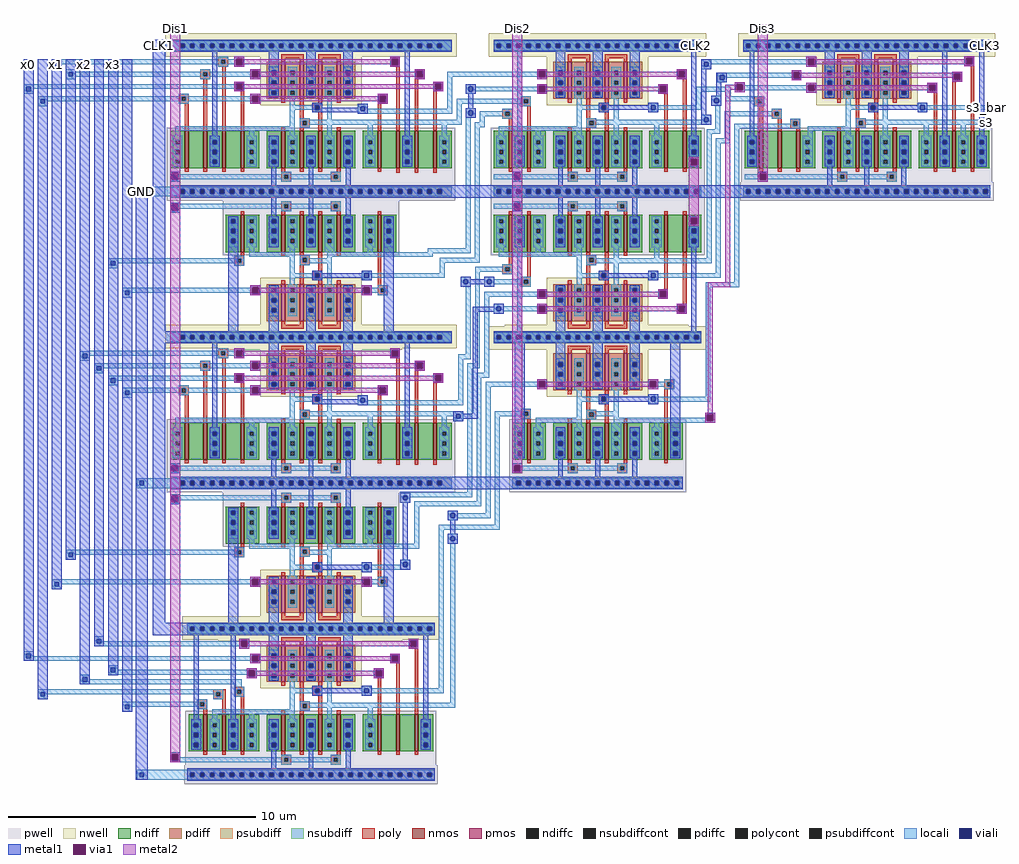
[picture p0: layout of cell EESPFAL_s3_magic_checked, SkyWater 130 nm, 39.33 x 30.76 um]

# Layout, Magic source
magic
tech sky130A
magscale 1 2
<< locali >>
rect -943 1054 -65 1094
rect 4315 1054 4585 1094
rect -829 954 -65 994
rect 2180 954 2555 994
rect -1171 854 -65 894
rect -1057 754 -65 794
rect 2180 654 2220 954
rect 4429 944 4585 984
rect 2408 834 2555 874
rect 4195 833 4471 873
rect 2254 734 2555 774
rect 2254 604 2294 734
rect 4195 724 4235 833
rect 4431 794 4471 833
rect 4431 754 4585 794
rect 2442 634 2555 674
rect 2215 564 2294 604
rect -255 -16 -65 64
rect 15 -116 385 -76
rect 2328 -437 2368 620
rect 2442 586 2482 634
rect 2021 -466 2368 -437
rect 1765 -477 2368 -466
rect 2402 546 2482 586
rect 1765 -506 2061 -477
rect 2402 -511 2442 546
rect 4349 530 4389 719
rect 6530 690 6554 716
rect -487 -556 385 -516
rect 2117 -551 2442 -511
rect 4279 490 4389 530
rect 4423 634 4585 674
rect 4279 -516 4319 490
rect 4423 456 4463 634
rect 2117 -636 2157 -551
rect 4235 -556 4319 -516
rect 4353 416 4463 456
rect 4501 534 4585 574
rect 6530 570 6556 597
rect 1765 -676 2157 -636
rect 2403 -626 2555 -586
rect -373 -796 499 -756
rect -715 -1306 -65 -1266
rect 2329 -1294 2369 -746
rect 2267 -1334 2369 -1294
rect -601 -1406 -65 -1366
rect -487 -1506 -65 -1466
rect -373 -1606 -65 -1566
rect 2267 -1666 2307 -1334
rect 2403 -1368 2443 -626
rect 4353 -636 4393 416
rect 4235 -676 4393 -636
rect 4501 -710 4541 534
rect 4269 -750 4541 -710
rect 2215 -1706 2307 -1666
rect 2341 -1408 2443 -1368
rect 2477 -826 2555 -786
rect 2215 -1796 2227 -1756
rect -255 -2376 -65 -2296
rect 2341 -2410 2381 -1408
rect 2477 -1442 2517 -826
rect 15 -2476 385 -2436
rect 1797 -2450 2381 -2410
rect 2415 -1482 2517 -1442
rect 2415 -2484 2455 -1482
rect 1911 -2524 2455 -2484
rect 2489 -1556 2705 -1516
rect 1911 -2826 1951 -2524
rect 2489 -2580 2529 -1556
rect 4269 -1636 4309 -750
rect 4085 -1676 4309 -1636
rect 2263 -2620 2529 -2580
rect 2563 -1796 2705 -1756
rect 2563 -2673 2603 -1796
rect 4085 -1846 4266 -1806
rect 1765 -2866 1951 -2826
rect 2109 -2713 2603 -2673
rect -830 -2916 385 -2876
rect 1765 -3036 1877 -2996
rect -943 -3156 385 -3116
rect -601 -3656 85 -3616
rect -1171 -3776 85 -3736
rect -487 -3886 85 -3846
rect -715 -3966 85 -3926
rect 2109 -3996 2149 -2713
rect -1057 -4046 85 -4006
rect 2065 -4036 2149 -3996
rect -373 -4146 85 -4106
rect 2203 -4116 2243 -2827
rect 2065 -4156 2243 -4116
rect 15 -4596 85 -4556
rect -255 -4736 75 -4656
<< metal1 >>
rect -205 1154 -65 1254
rect 4171 1180 4220 1229
rect 6506 1179 6557 1228
rect -1251 -3775 -1171 1094
rect -1137 -4085 -1057 1094
rect -1023 -3196 -943 1094
rect -909 -2956 -829 1094
rect -795 -3966 -715 1094
rect -681 -3656 -601 1094
rect -567 -3890 -487 1094
rect -453 -4186 -373 1094
rect -345 -4736 -245 64
rect -205 -1106 -105 1154
rect 2348 700 2388 814
rect 4235 644 4275 1014
rect 4357 799 4397 987
rect 2215 -26 2555 74
rect 4235 -26 4575 74
rect 2369 -726 2477 -686
rect 2383 -948 2555 -908
rect -205 -1206 -65 -1106
rect -205 -3466 -105 -1206
rect 2383 -1775 2423 -948
rect 2307 -1815 2423 -1775
rect 2215 -2386 2705 -2286
rect 1817 -2956 1857 -2494
rect 2203 -2747 2243 -2638
rect -205 -3566 75 -3466
<< via1 >>
rect 4149 238 4201 290
rect 4149 -242 4201 -190
<< metal2 >>
rect -65 -4516 15 1380
rect 2705 -2177 2785 1380
rect 4427 847 4505 887
rect 4135 290 4215 304
rect 4135 238 4149 290
rect 4201 238 4215 290
rect 4135 -190 4215 238
rect 4135 -242 4149 -190
rect 4201 -242 4215 -190
rect 4135 -256 4215 -242
rect 4427 -710 4467 847
rect 4693 184 4773 1380
rect 4286 -750 4467 -710
rect 4286 -1766 4326 -750
use EESPFAL_3in_NAND_v2  EESPFAL_3in_NAND_v2_0
transform 1 0 2705 0 1 -5146
box -2670 374 -590 1730
use EESPFAL_3in_NOR_v2  EESPFAL_3in_NOR_v2_0
transform 1 0 6875 0 1 -356
box -2340 304 -260 1660
use EESPFAL_INV4  EESPFAL_INV4_0
transform 1 0 3715 0 -1 694
box -3390 594 -1900 1950
use EESPFAL_INV4  EESPFAL_INV4_1
transform 1 0 6035 0 1 -3006
box -3390 594 -1900 1950
use EESPFAL_INV4  EESPFAL_INV4_2
transform 1 0 3715 0 -1 -1666
box -3390 594 -1900 1950
use EESPFAL_NAND_v3  EESPFAL_NAND_v3_0
transform 1 0 3464 0 1 628
box -949 -680 811 676
use EESPFAL_NAND_v3  EESPFAL_NAND_v3_1
transform 1 0 3464 0 -1 -580
box -949 -680 811 676
use EESPFAL_XOR_v3  EESPFAL_XOR_v3_0
transform 1 0 1225 0 1 -196
box -1330 144 1030 1500
use EESPFAL_XOR_v3  EESPFAL_XOR_v3_1
transform 1 0 1225 0 1 -2556
box -1330 144 1030 1500
use Li_via_M1  Li_via_M1_0
transform 1 0 1837 0 1 -2998
box -40 -38 40 42
use Li_via_M1  Li_via_M1_1
transform 1 0 1837 0 1 -2456
box -40 -38 40 42
use Li_via_M1  Li_via_M1_2
transform 1 0 4357 0 1 757
box -40 -38 40 42
use Li_via_M1  Li_via_M1_3
transform 1 0 4402 0 1 945
box -40 -38 40 42
use Li_via_M1  Li_via_M1_4
transform 1 0 4275 0 1 1052
box -40 -38 40 42
use Li_via_M1  Li_via_M1_5
transform 1 0 4275 0 1 602
box -40 -38 40 42
use Li_via_M1  Li_via_M1_6
transform 1 0 2368 0 1 852
box -40 -38 40 42
use Li_via_M1  Li_via_M1_7
transform 1 0 -413 0 1 -4148
box -40 -38 40 42
use Li_via_M1  Li_via_M1_8
transform 1 0 -527 0 1 -3852
box -40 -38 40 42
use Li_via_M1  Li_via_M1_9
transform 1 0 -1097 0 1 -4048
box -40 -38 40 42
use Li_via_M1  Li_via_M1_10
transform 1 0 -1211 0 1 -3738
box -40 -38 40 42
use Li_via_M1  Li_via_M1_11
transform 1 0 2368 0 1 658
box -40 -38 40 42
use Li_via_M1  Li_via_M1_12
transform 1 0 -755 0 1 -3928
box -40 -38 40 42
use Li_via_M1  Li_via_M1_13
transform 1 0 -295 0 1 22
box -40 -38 40 42
use Li_via_M1  Li_via_M1_14
transform 1 0 2329 0 1 -708
box -40 -38 40 42
use Li_via_M1  Li_via_M1_15
transform 1 0 2267 0 1 -1798
box -40 -38 40 42
use Li_via_M1  Li_via_M1_16
transform 1 0 2517 0 1 -708
box -40 -38 40 42
use Li_via_M1  Li_via_M1_17
transform 1 0 2595 0 1 -928
box -40 -38 40 42
use Li_via_M1  Li_via_M1_18
transform 1 0 -641 0 1 -3618
box -40 -38 40 42
use Li_via_M1  Li_via_M1_19
transform 1 0 -983 0 1 -3158
box -40 -38 40 42
use Li_via_M1  Li_via_M1_20
transform 1 0 -869 0 1 -2918
box -40 -38 40 42
use Li_via_M1  Li_via_M1_21
transform 1 0 -413 0 1 -1608
box -40 -38 40 42
use Li_via_M1  Li_via_M1_22
transform 1 0 -527 0 1 -1508
box -40 -38 40 42
use Li_via_M1  Li_via_M1_23
transform 1 0 2223 0 1 -2789
box -40 -38 40 42
use Li_via_M1  Li_via_M1_24
transform 1 0 2223 0 1 -2601
box -40 -38 40 42
use Li_via_M1  Li_via_M1_25
transform 1 0 -641 0 1 -1408
box -40 -38 40 42
use Li_via_M1  Li_via_M1_26
transform 1 0 -755 0 1 -1309
box -40 -38 40 42
use Li_via_M1  Li_via_M1_27
transform 1 0 -295 0 1 -2338
box -40 -38 40 42
use Li_via_M1  Li_via_M1_28
transform 1 0 -527 0 1 -558
box -40 -38 40 42
use Li_via_M1  Li_via_M1_29
transform 1 0 -413 0 1 -798
box -40 -38 40 42
use Li_via_M1  Li_via_M1_30
transform 1 0 -1097 0 1 752
box -40 -38 40 42
use Li_via_M1  Li_via_M1_31
transform 1 0 -1211 0 1 852
box -40 -38 40 42
use Li_via_M1  Li_via_M1_32
transform 1 0 -869 0 1 972
box -40 -38 40 42
use Li_via_M1  Li_via_M1_33
transform 1 0 -295 0 1 -4698
box -40 -38 40 42
use Li_via_M1  Li_via_M1_34
transform 1 0 -983 0 1 1052
box -40 -38 40 42
use Li_via_M2  Li_via_M2_0
transform 1 0 4733 0 1 142
box -40 -38 40 42
use Li_via_M2  Li_via_M2_1
transform 1 0 4306 0 1 -1808
box -40 -38 40 42
use Li_via_M2  Li_via_M2_2
transform 1 0 4545 0 1 866
box -40 -38 40 42
use Li_via_M2  Li_via_M2_3
transform 1 0 2745 0 1 142
box -40 -38 40 42
use Li_via_M2  Li_via_M2_4
transform 1 0 2745 0 1 -98
box -40 -38 40 42
use Li_via_M2  Li_via_M2_5
transform 1 0 -25 0 1 -108
box -40 -38 40 42
use Li_via_M2  Li_via_M2_6
transform 1 0 -25 0 1 142
box -40 -38 40 42
use Li_via_M2  Li_via_M2_7
transform 1 0 2745 0 1 -2219
box -40 -38 40 42
use Li_via_M2  Li_via_M2_8
transform 1 0 -25 0 1 -2218
box -40 -38 40 42
use Li_via_M2  Li_via_M2_9
transform 1 0 -25 0 1 -2468
box -40 -38 40 42
use Li_via_M2  Li_via_M2_10
transform 1 0 -25 0 1 -4558
box -40 -38 40 42
<< labels >>
flabel locali s 6530 690 6554 716 2 FreeSans 2000 0 0 0 s3_bar
port 1 nsew
flabel locali s 6530 570 6556 597 2 FreeSans 2000 0 0 0 s3
port 2 nsew
flabel metal1 s 6506 1179 6557 1228 2 FreeSans 2000 0 0 0 CLK3
port 3 nsew
flabel metal1 s -1241 1020 -1180 1080 2 FreeSans 2500 0 0 0 x0
port 4 nsew
flabel metal1 s -1128 959 -1067 1019 2 FreeSans 2500 0 0 0 x0_bar
port 5 nsew
flabel metal1 s -1013 1020 -952 1080 2 FreeSans 2500 0 0 0 x1
port 6 nsew
flabel metal1 s -899 959 -838 1019 2 FreeSans 2500 0 0 0 x1_bar
port 7 nsew
flabel metal1 s -785 1021 -724 1081 2 FreeSans 2500 0 0 0 x2
port 8 nsew
flabel metal1 s -672 960 -611 1020 2 FreeSans 2500 0 0 0 x2_bar
port 9 nsew
flabel metal1 s -557 1021 -496 1081 2 FreeSans 2500 0 0 0 x3
port 10 nsew
flabel metal1 s -443 960 -382 1020 2 FreeSans 2500 0 0 0 x3_bar
port 11 nsew
flabel metal1 s 4171 1180 4220 1229 2 FreeSans 2500 0 0 0 CLK2
port 12 nsew
flabel metal1 s -180 1176 -128 1230 2 FreeSans 2500 0 0 0 CLK1
port 13 nsew
flabel metal1 s -319 -1 -271 48 2 FreeSans 2500 0 0 0 GND
port 14 nsew
flabel metal2 s 4708 1319 4759 1371 2 FreeSans 2000 0 0 0 Dis3
port 15 nsew
flabel metal2 s -50 1319 1 1367 2 FreeSans 2500 0 0 0 Dis1
port 16 nsew
flabel metal2 s 2720 1320 2772 1371 2 FreeSans 2500 0 0 0 Dis2
port 17 nsew
<< properties >>
string path 23.665 0.920 23.665 6.900 
<< end >>

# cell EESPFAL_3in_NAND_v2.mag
magic
tech sky130A
magscale 1 2
<< nwell >>
rect -2670 1540 -590 1730
rect -2040 1150 -1220 1540
<< pwell >>
rect -2646 526 -614 966
rect -2656 374 -604 526
<< nmos >>
rect -2500 640 -2470 940
rect -2350 640 -2320 940
rect -2200 640 -2170 940
rect -1870 640 -1840 940
rect -1720 640 -1690 940
rect -1570 640 -1540 940
rect -1420 640 -1390 940
rect -1090 640 -1060 940
rect -940 640 -910 940
rect -790 640 -760 940
<< pmos >>
rect -1870 1200 -1840 1500
rect -1720 1200 -1690 1500
rect -1570 1200 -1540 1500
rect -1420 1200 -1390 1500
<< ndiff >>
rect -2620 867 -2500 940
rect -2620 833 -2577 867
rect -2543 833 -2500 867
rect -2620 787 -2500 833
rect -2620 753 -2577 787
rect -2543 753 -2500 787
rect -2620 707 -2500 753
rect -2620 673 -2577 707
rect -2543 673 -2500 707
rect -2620 640 -2500 673
rect -2470 867 -2350 940
rect -2470 833 -2427 867
rect -2393 833 -2350 867
rect -2470 787 -2350 833
rect -2470 753 -2427 787
rect -2393 753 -2350 787
rect -2470 707 -2350 753
rect -2470 673 -2427 707
rect -2393 673 -2350 707
rect -2470 640 -2350 673
rect -2320 867 -2200 940
rect -2320 833 -2277 867
rect -2243 833 -2200 867
rect -2320 787 -2200 833
rect -2320 753 -2277 787
rect -2243 753 -2200 787
rect -2320 707 -2200 753
rect -2320 673 -2277 707
rect -2243 673 -2200 707
rect -2320 640 -2200 673
rect -2170 867 -2050 940
rect -2170 833 -2127 867
rect -2093 833 -2050 867
rect -2170 787 -2050 833
rect -2170 753 -2127 787
rect -2093 753 -2050 787
rect -2170 707 -2050 753
rect -2170 673 -2127 707
rect -2093 673 -2050 707
rect -2170 640 -2050 673
rect -1990 867 -1870 940
rect -1990 833 -1947 867
rect -1913 833 -1870 867
rect -1990 787 -1870 833
rect -1990 753 -1947 787
rect -1913 753 -1870 787
rect -1990 707 -1870 753
rect -1990 673 -1947 707
rect -1913 673 -1870 707
rect -1990 640 -1870 673
rect -1840 867 -1720 940
rect -1840 833 -1797 867
rect -1763 833 -1720 867
rect -1840 787 -1720 833
rect -1840 753 -1797 787
rect -1763 753 -1720 787
rect -1840 707 -1720 753
rect -1840 673 -1797 707
rect -1763 673 -1720 707
rect -1840 640 -1720 673
rect -1690 867 -1570 940
rect -1690 833 -1647 867
rect -1613 833 -1570 867
rect -1690 787 -1570 833
rect -1690 753 -1647 787
rect -1613 753 -1570 787
rect -1690 707 -1570 753
rect -1690 673 -1647 707
rect -1613 673 -1570 707
rect -1690 640 -1570 673
rect -1540 867 -1420 940
rect -1540 833 -1497 867
rect -1463 833 -1420 867
rect -1540 787 -1420 833
rect -1540 753 -1497 787
rect -1463 753 -1420 787
rect -1540 707 -1420 753
rect -1540 673 -1497 707
rect -1463 673 -1420 707
rect -1540 640 -1420 673
rect -1390 867 -1270 940
rect -1390 833 -1347 867
rect -1313 833 -1270 867
rect -1390 787 -1270 833
rect -1390 753 -1347 787
rect -1313 753 -1270 787
rect -1390 707 -1270 753
rect -1390 673 -1347 707
rect -1313 673 -1270 707
rect -1390 640 -1270 673
rect -1210 867 -1090 940
rect -1210 833 -1167 867
rect -1133 833 -1090 867
rect -1210 787 -1090 833
rect -1210 753 -1167 787
rect -1133 753 -1090 787
rect -1210 707 -1090 753
rect -1210 673 -1167 707
rect -1133 673 -1090 707
rect -1210 640 -1090 673
rect -1060 640 -940 940
rect -910 640 -790 940
rect -760 867 -640 940
rect -760 833 -717 867
rect -683 833 -640 867
rect -760 787 -640 833
rect -760 753 -717 787
rect -683 753 -640 787
rect -760 707 -640 753
rect -760 673 -717 707
rect -683 673 -640 707
rect -760 640 -640 673
<< pdiff >>
rect -1990 1427 -1870 1500
rect -1990 1393 -1947 1427
rect -1913 1393 -1870 1427
rect -1990 1347 -1870 1393
rect -1990 1313 -1947 1347
rect -1913 1313 -1870 1347
rect -1990 1267 -1870 1313
rect -1990 1233 -1947 1267
rect -1913 1233 -1870 1267
rect -1990 1200 -1870 1233
rect -1840 1427 -1720 1500
rect -1840 1393 -1797 1427
rect -1763 1393 -1720 1427
rect -1840 1347 -1720 1393
rect -1840 1313 -1797 1347
rect -1763 1313 -1720 1347
rect -1840 1267 -1720 1313
rect -1840 1233 -1797 1267
rect -1763 1233 -1720 1267
rect -1840 1200 -1720 1233
rect -1690 1427 -1570 1500
rect -1690 1393 -1647 1427
rect -1613 1393 -1570 1427
rect -1690 1347 -1570 1393
rect -1690 1313 -1647 1347
rect -1613 1313 -1570 1347
rect -1690 1267 -1570 1313
rect -1690 1233 -1647 1267
rect -1613 1233 -1570 1267
rect -1690 1200 -1570 1233
rect -1540 1427 -1420 1500
rect -1540 1393 -1497 1427
rect -1463 1393 -1420 1427
rect -1540 1347 -1420 1393
rect -1540 1313 -1497 1347
rect -1463 1313 -1420 1347
rect -1540 1267 -1420 1313
rect -1540 1233 -1497 1267
rect -1463 1233 -1420 1267
rect -1540 1200 -1420 1233
rect -1390 1427 -1270 1500
rect -1390 1393 -1347 1427
rect -1313 1393 -1270 1427
rect -1390 1347 -1270 1393
rect -1390 1313 -1347 1347
rect -1313 1313 -1270 1347
rect -1390 1267 -1270 1313
rect -1390 1233 -1347 1267
rect -1313 1233 -1270 1267
rect -1390 1200 -1270 1233
<< ndiffc >>
rect -2577 833 -2543 867
rect -2577 753 -2543 787
rect -2577 673 -2543 707
rect -2427 833 -2393 867
rect -2427 753 -2393 787
rect -2427 673 -2393 707
rect -2277 833 -2243 867
rect -2277 753 -2243 787
rect -2277 673 -2243 707
rect -2127 833 -2093 867
rect -2127 753 -2093 787
rect -2127 673 -2093 707
rect -1947 833 -1913 867
rect -1947 753 -1913 787
rect -1947 673 -1913 707
rect -1797 833 -1763 867
rect -1797 753 -1763 787
rect -1797 673 -1763 707
rect -1647 833 -1613 867
rect -1647 753 -1613 787
rect -1647 673 -1613 707
rect -1497 833 -1463 867
rect -1497 753 -1463 787
rect -1497 673 -1463 707
rect -1347 833 -1313 867
rect -1347 753 -1313 787
rect -1347 673 -1313 707
rect -1167 833 -1133 867
rect -1167 753 -1133 787
rect -1167 673 -1133 707
rect -717 833 -683 867
rect -717 753 -683 787
rect -717 673 -683 707
<< pdiffc >>
rect -1947 1393 -1913 1427
rect -1947 1313 -1913 1347
rect -1947 1233 -1913 1267
rect -1797 1393 -1763 1427
rect -1797 1313 -1763 1347
rect -1797 1233 -1763 1267
rect -1647 1393 -1613 1427
rect -1647 1313 -1613 1347
rect -1647 1233 -1613 1267
rect -1497 1393 -1463 1427
rect -1497 1313 -1463 1347
rect -1497 1233 -1463 1267
rect -1347 1393 -1313 1427
rect -1347 1313 -1313 1347
rect -1347 1233 -1313 1267
<< psubdiff >>
rect -2630 467 -630 500
rect -2630 433 -2607 467
rect -2573 433 -2527 467
rect -2493 433 -2447 467
rect -2413 433 -2367 467
rect -2333 433 -2287 467
rect -2253 433 -2207 467
rect -2173 433 -2127 467
rect -2093 433 -2047 467
rect -2013 433 -1967 467
rect -1933 433 -1887 467
rect -1853 433 -1807 467
rect -1773 433 -1727 467
rect -1693 433 -1647 467
rect -1613 433 -1567 467
rect -1533 433 -1487 467
rect -1453 433 -1407 467
rect -1373 433 -1327 467
rect -1293 433 -1247 467
rect -1213 433 -1167 467
rect -1133 433 -1087 467
rect -1053 433 -1007 467
rect -973 433 -927 467
rect -893 433 -847 467
rect -813 433 -767 467
rect -733 433 -687 467
rect -653 433 -630 467
rect -2630 400 -630 433
<< nsubdiff >>
rect -2630 1647 -630 1680
rect -2630 1613 -2607 1647
rect -2573 1613 -2527 1647
rect -2493 1613 -2447 1647
rect -2413 1613 -2367 1647
rect -2333 1613 -2287 1647
rect -2253 1613 -2207 1647
rect -2173 1613 -2127 1647
rect -2093 1613 -2047 1647
rect -2013 1613 -1967 1647
rect -1933 1613 -1887 1647
rect -1853 1613 -1807 1647
rect -1773 1613 -1727 1647
rect -1693 1613 -1647 1647
rect -1613 1613 -1567 1647
rect -1533 1613 -1487 1647
rect -1453 1613 -1407 1647
rect -1373 1613 -1327 1647
rect -1293 1613 -1247 1647
rect -1213 1613 -1167 1647
rect -1133 1613 -1087 1647
rect -1053 1613 -1007 1647
rect -973 1613 -927 1647
rect -893 1613 -847 1647
rect -813 1613 -767 1647
rect -733 1613 -687 1647
rect -653 1613 -630 1647
rect -2630 1580 -630 1613
<< psubdiffcont >>
rect -2607 433 -2573 467
rect -2527 433 -2493 467
rect -2447 433 -2413 467
rect -2367 433 -2333 467
rect -2287 433 -2253 467
rect -2207 433 -2173 467
rect -2127 433 -2093 467
rect -2047 433 -2013 467
rect -1967 433 -1933 467
rect -1887 433 -1853 467
rect -1807 433 -1773 467
rect -1727 433 -1693 467
rect -1647 433 -1613 467
rect -1567 433 -1533 467
rect -1487 433 -1453 467
rect -1407 433 -1373 467
rect -1327 433 -1293 467
rect -1247 433 -1213 467
rect -1167 433 -1133 467
rect -1087 433 -1053 467
rect -1007 433 -973 467
rect -927 433 -893 467
rect -847 433 -813 467
rect -767 433 -733 467
rect -687 433 -653 467
<< nsubdiffcont >>
rect -2607 1613 -2573 1647
rect -2527 1613 -2493 1647
rect -2447 1613 -2413 1647
rect -2367 1613 -2333 1647
rect -2287 1613 -2253 1647
rect -2207 1613 -2173 1647
rect -2127 1613 -2093 1647
rect -2047 1613 -2013 1647
rect -1967 1613 -1933 1647
rect -1887 1613 -1853 1647
rect -1807 1613 -1773 1647
rect -1727 1613 -1693 1647
rect -1647 1613 -1613 1647
rect -1567 1613 -1533 1647
rect -1487 1613 -1453 1647
rect -1407 1613 -1373 1647
rect -1327 1613 -1293 1647
rect -1247 1613 -1213 1647
rect -1167 1613 -1133 1647
rect -1087 1613 -1053 1647
rect -1007 1613 -973 1647
rect -927 1613 -893 1647
rect -847 1613 -813 1647
rect -767 1613 -733 1647
rect -687 1613 -653 1647
<< poly >>
rect -1870 1530 -1690 1560
rect -1870 1500 -1840 1530
rect -1720 1500 -1690 1530
rect -1570 1530 -1390 1560
rect -1570 1500 -1540 1530
rect -1420 1500 -1390 1530
rect -840 1527 -760 1550
rect -840 1493 -817 1527
rect -783 1493 -760 1527
rect -840 1470 -760 1493
rect -990 1407 -910 1430
rect -990 1373 -967 1407
rect -933 1373 -910 1407
rect -990 1350 -910 1373
rect -1120 1287 -1040 1310
rect -1120 1253 -1097 1287
rect -1063 1253 -1040 1287
rect -1120 1230 -1040 1253
rect -1870 1170 -1840 1200
rect -2420 1117 -2320 1140
rect -2420 1083 -2397 1117
rect -2363 1083 -2320 1117
rect -2420 1060 -2320 1083
rect -2250 1137 -2170 1160
rect -2250 1103 -2227 1137
rect -2193 1103 -2170 1137
rect -2250 1080 -2170 1103
rect -2550 1037 -2470 1060
rect -2550 1003 -2527 1037
rect -2493 1003 -2470 1037
rect -2550 980 -2470 1003
rect -2500 940 -2470 980
rect -2350 940 -2320 1060
rect -2200 940 -2170 1080
rect -1720 1045 -1690 1200
rect -1570 1170 -1540 1200
rect -1420 1170 -1390 1200
rect -1620 1147 -1540 1170
rect -1620 1113 -1597 1147
rect -1563 1113 -1540 1147
rect -1620 1090 -1540 1113
rect -1720 1022 -1640 1045
rect -1720 988 -1697 1022
rect -1663 988 -1640 1022
rect -1870 940 -1840 970
rect -1720 965 -1640 988
rect -1720 940 -1690 965
rect -1570 940 -1540 1090
rect -1420 940 -1390 970
rect -1090 940 -1060 1230
rect -940 940 -910 1350
rect -790 940 -760 1470
rect -2500 610 -2470 640
rect -2350 610 -2320 640
rect -2200 610 -2170 640
rect -1870 610 -1840 640
rect -1720 610 -1690 640
rect -1570 610 -1540 640
rect -1420 610 -1390 640
rect -1090 610 -1060 640
rect -940 610 -910 640
rect -790 610 -760 640
rect -1870 587 -1790 610
rect -1870 553 -1847 587
rect -1813 553 -1790 587
rect -1870 530 -1790 553
rect -1470 587 -1390 610
rect -1470 553 -1447 587
rect -1413 553 -1390 587
rect -1470 530 -1390 553
<< polycont >>
rect -817 1493 -783 1527
rect -967 1373 -933 1407
rect -1097 1253 -1063 1287
rect -2397 1083 -2363 1117
rect -2227 1103 -2193 1137
rect -2527 1003 -2493 1037
rect -1597 1113 -1563 1147
rect -1697 988 -1663 1022
rect -1847 553 -1813 587
rect -1447 553 -1413 587
<< locali >>
rect -2630 1647 -630 1670
rect -2630 1613 -2607 1647
rect -2573 1613 -2527 1647
rect -2493 1613 -2447 1647
rect -2413 1613 -2367 1647
rect -2333 1613 -2287 1647
rect -2253 1613 -2207 1647
rect -2173 1613 -2127 1647
rect -2093 1613 -2047 1647
rect -2013 1613 -1967 1647
rect -1933 1613 -1887 1647
rect -1853 1613 -1807 1647
rect -1773 1613 -1727 1647
rect -1693 1613 -1647 1647
rect -1613 1613 -1567 1647
rect -1533 1613 -1487 1647
rect -1453 1613 -1407 1647
rect -1373 1613 -1327 1647
rect -1293 1613 -1247 1647
rect -1213 1613 -1167 1647
rect -1133 1613 -1087 1647
rect -1053 1613 -1007 1647
rect -973 1613 -927 1647
rect -893 1613 -847 1647
rect -813 1613 -767 1647
rect -733 1613 -687 1647
rect -653 1613 -630 1647
rect -2630 1590 -630 1613
rect -2210 1530 -2130 1550
rect -2620 1527 -2130 1530
rect -2620 1493 -2187 1527
rect -2153 1493 -2130 1527
rect -2620 1490 -2130 1493
rect -2210 1470 -2130 1490
rect -840 1527 -760 1550
rect -840 1493 -817 1527
rect -783 1493 -760 1527
rect -840 1470 -760 1493
rect -2120 1410 -2040 1430
rect -2620 1407 -2040 1410
rect -2620 1373 -2097 1407
rect -2063 1373 -2040 1407
rect -2620 1370 -2040 1373
rect -2120 1350 -2040 1370
rect -1970 1427 -1890 1460
rect -1970 1393 -1947 1427
rect -1913 1393 -1890 1427
rect -1970 1347 -1890 1393
rect -1970 1313 -1947 1347
rect -1913 1313 -1890 1347
rect -2150 1300 -2070 1310
rect -2620 1287 -2070 1300
rect -2620 1260 -2127 1287
rect -2150 1253 -2127 1260
rect -2093 1253 -2070 1287
rect -2150 1230 -2070 1253
rect -1970 1267 -1890 1313
rect -1970 1233 -1947 1267
rect -1913 1233 -1890 1267
rect -2620 1180 -2190 1220
rect -1970 1210 -1890 1233
rect -1820 1427 -1740 1460
rect -1820 1393 -1797 1427
rect -1763 1393 -1740 1427
rect -1820 1347 -1740 1393
rect -1820 1313 -1797 1347
rect -1763 1313 -1740 1347
rect -1820 1267 -1740 1313
rect -1820 1233 -1797 1267
rect -1763 1233 -1740 1267
rect -1820 1200 -1740 1233
rect -1670 1427 -1590 1460
rect -1670 1393 -1647 1427
rect -1613 1393 -1590 1427
rect -1670 1347 -1590 1393
rect -1670 1313 -1647 1347
rect -1613 1313 -1590 1347
rect -1670 1267 -1590 1313
rect -1670 1233 -1647 1267
rect -1613 1233 -1590 1267
rect -1670 1210 -1590 1233
rect -1520 1427 -1440 1460
rect -1520 1393 -1497 1427
rect -1463 1393 -1440 1427
rect -1520 1347 -1440 1393
rect -1520 1313 -1497 1347
rect -1463 1313 -1440 1347
rect -1520 1267 -1440 1313
rect -1520 1233 -1497 1267
rect -1463 1233 -1440 1267
rect -1520 1200 -1440 1233
rect -1370 1427 -1290 1460
rect -1370 1393 -1347 1427
rect -1313 1393 -1290 1427
rect -1370 1347 -1290 1393
rect -990 1407 -910 1430
rect -990 1373 -967 1407
rect -933 1373 -910 1407
rect -990 1350 -910 1373
rect -1370 1313 -1347 1347
rect -1313 1313 -1290 1347
rect -1370 1267 -1290 1313
rect -1370 1233 -1347 1267
rect -1313 1233 -1290 1267
rect -1370 1210 -1290 1233
rect -1120 1287 -1040 1310
rect -1120 1253 -1097 1287
rect -1063 1253 -1040 1287
rect -1120 1230 -1040 1253
rect -2250 1160 -2190 1180
rect -2620 1117 -2340 1140
rect -2620 1100 -2397 1117
rect -2420 1083 -2397 1100
rect -2363 1083 -2340 1117
rect -2420 1060 -2340 1083
rect -2250 1137 -2170 1160
rect -2250 1103 -2227 1137
rect -2193 1103 -2170 1137
rect -2250 1080 -2170 1103
rect -1800 1150 -1760 1200
rect -1620 1150 -1540 1170
rect -1800 1147 -1540 1150
rect -1800 1113 -1597 1147
rect -1563 1113 -1540 1147
rect -1800 1110 -1540 1113
rect -2550 1040 -2470 1060
rect -2620 1037 -2470 1040
rect -2620 1003 -2527 1037
rect -2493 1003 -2470 1037
rect -2620 1000 -2470 1003
rect -2550 980 -2470 1000
rect -1800 980 -1760 1110
rect -1620 1090 -1540 1110
rect -2430 940 -1760 980
rect -1720 1030 -1640 1045
rect -1500 1030 -1460 1200
rect -1220 1150 -1140 1170
rect -1220 1147 -640 1150
rect -1220 1113 -1197 1147
rect -1163 1113 -640 1147
rect -1220 1110 -640 1113
rect -1220 1090 -1140 1110
rect -1720 1022 -640 1030
rect -1720 988 -1697 1022
rect -1663 990 -640 1022
rect -1663 988 -1640 990
rect -1720 965 -1640 988
rect -2430 900 -2390 940
rect -2130 900 -2090 940
rect -1800 900 -1760 940
rect -1500 900 -1460 990
rect -1170 900 -1130 990
rect -2600 867 -2520 900
rect -2600 833 -2577 867
rect -2543 833 -2520 867
rect -2600 787 -2520 833
rect -2600 753 -2577 787
rect -2543 753 -2520 787
rect -2600 707 -2520 753
rect -2600 673 -2577 707
rect -2543 673 -2520 707
rect -2600 650 -2520 673
rect -2450 867 -2370 900
rect -2450 833 -2427 867
rect -2393 833 -2370 867
rect -2450 787 -2370 833
rect -2450 753 -2427 787
rect -2393 753 -2370 787
rect -2450 707 -2370 753
rect -2450 673 -2427 707
rect -2393 673 -2370 707
rect -2450 650 -2370 673
rect -2300 867 -2220 900
rect -2300 833 -2277 867
rect -2243 833 -2220 867
rect -2300 787 -2220 833
rect -2300 753 -2277 787
rect -2243 753 -2220 787
rect -2300 707 -2220 753
rect -2300 673 -2277 707
rect -2243 673 -2220 707
rect -2300 650 -2220 673
rect -2150 867 -2070 900
rect -2150 833 -2127 867
rect -2093 833 -2070 867
rect -2150 787 -2070 833
rect -2150 753 -2127 787
rect -2093 753 -2070 787
rect -2150 707 -2070 753
rect -2150 673 -2127 707
rect -2093 673 -2070 707
rect -2150 650 -2070 673
rect -1970 867 -1890 900
rect -1970 833 -1947 867
rect -1913 833 -1890 867
rect -1970 787 -1890 833
rect -1970 753 -1947 787
rect -1913 753 -1890 787
rect -1970 707 -1890 753
rect -1970 673 -1947 707
rect -1913 673 -1890 707
rect -1970 650 -1890 673
rect -1820 867 -1740 900
rect -1820 833 -1797 867
rect -1763 833 -1740 867
rect -1820 787 -1740 833
rect -1820 753 -1797 787
rect -1763 753 -1740 787
rect -1820 707 -1740 753
rect -1820 673 -1797 707
rect -1763 673 -1740 707
rect -1820 650 -1740 673
rect -1670 867 -1590 900
rect -1670 833 -1647 867
rect -1613 833 -1590 867
rect -1670 787 -1590 833
rect -1670 753 -1647 787
rect -1613 753 -1590 787
rect -1670 707 -1590 753
rect -1670 673 -1647 707
rect -1613 673 -1590 707
rect -1670 650 -1590 673
rect -1520 867 -1440 900
rect -1520 833 -1497 867
rect -1463 833 -1440 867
rect -1520 787 -1440 833
rect -1520 753 -1497 787
rect -1463 753 -1440 787
rect -1520 707 -1440 753
rect -1520 673 -1497 707
rect -1463 673 -1440 707
rect -1520 650 -1440 673
rect -1370 867 -1290 900
rect -1370 833 -1347 867
rect -1313 833 -1290 867
rect -1370 787 -1290 833
rect -1370 753 -1347 787
rect -1313 753 -1290 787
rect -1370 707 -1290 753
rect -1370 673 -1347 707
rect -1313 673 -1290 707
rect -1370 650 -1290 673
rect -1190 867 -1110 900
rect -1190 833 -1167 867
rect -1133 833 -1110 867
rect -1190 787 -1110 833
rect -1190 753 -1167 787
rect -1133 753 -1110 787
rect -1190 707 -1110 753
rect -1190 673 -1167 707
rect -1133 673 -1110 707
rect -1190 650 -1110 673
rect -740 867 -660 900
rect -740 833 -717 867
rect -683 833 -660 867
rect -740 787 -660 833
rect -740 753 -717 787
rect -683 753 -660 787
rect -740 707 -660 753
rect -740 673 -717 707
rect -683 673 -660 707
rect -740 650 -660 673
rect -1870 590 -1790 610
rect -1470 590 -1390 610
rect -2620 587 -1390 590
rect -2620 553 -1847 587
rect -1813 553 -1447 587
rect -1413 553 -1390 587
rect -2620 550 -1390 553
rect -1870 530 -1790 550
rect -1470 530 -1390 550
rect -2630 467 -630 490
rect -2630 433 -2607 467
rect -2573 433 -2527 467
rect -2493 433 -2447 467
rect -2413 433 -2367 467
rect -2333 433 -2287 467
rect -2253 433 -2207 467
rect -2173 433 -2127 467
rect -2093 433 -2047 467
rect -2013 433 -1967 467
rect -1933 433 -1887 467
rect -1853 433 -1807 467
rect -1773 433 -1727 467
rect -1693 433 -1647 467
rect -1613 433 -1567 467
rect -1533 433 -1487 467
rect -1453 433 -1407 467
rect -1373 433 -1327 467
rect -1293 433 -1247 467
rect -1213 433 -1167 467
rect -1133 433 -1087 467
rect -1053 433 -1007 467
rect -973 433 -927 467
rect -893 433 -847 467
rect -813 433 -767 467
rect -733 433 -687 467
rect -653 433 -630 467
rect -2630 410 -630 433
<< viali >>
rect -2607 1613 -2573 1647
rect -2527 1613 -2493 1647
rect -2447 1613 -2413 1647
rect -2367 1613 -2333 1647
rect -2287 1613 -2253 1647
rect -2207 1613 -2173 1647
rect -2127 1613 -2093 1647
rect -2047 1613 -2013 1647
rect -1967 1613 -1933 1647
rect -1887 1613 -1853 1647
rect -1807 1613 -1773 1647
rect -1727 1613 -1693 1647
rect -1647 1613 -1613 1647
rect -1567 1613 -1533 1647
rect -1487 1613 -1453 1647
rect -1407 1613 -1373 1647
rect -1327 1613 -1293 1647
rect -1247 1613 -1213 1647
rect -1167 1613 -1133 1647
rect -1087 1613 -1053 1647
rect -1007 1613 -973 1647
rect -927 1613 -893 1647
rect -847 1613 -813 1647
rect -767 1613 -733 1647
rect -687 1613 -653 1647
rect -2187 1493 -2153 1527
rect -817 1493 -783 1527
rect -2097 1373 -2063 1407
rect -1947 1393 -1913 1427
rect -1947 1313 -1913 1347
rect -2127 1253 -2093 1287
rect -1947 1233 -1913 1267
rect -1647 1393 -1613 1427
rect -1647 1313 -1613 1347
rect -1647 1233 -1613 1267
rect -1347 1393 -1313 1427
rect -967 1373 -933 1407
rect -1347 1313 -1313 1347
rect -1347 1233 -1313 1267
rect -1097 1253 -1063 1287
rect -1597 1113 -1563 1147
rect -1197 1113 -1163 1147
rect -2577 833 -2543 867
rect -2577 753 -2543 787
rect -2577 673 -2543 707
rect -2277 833 -2243 867
rect -2277 753 -2243 787
rect -2277 673 -2243 707
rect -1947 833 -1913 867
rect -1947 753 -1913 787
rect -1947 673 -1913 707
rect -1647 833 -1613 867
rect -1647 753 -1613 787
rect -1647 673 -1613 707
rect -1347 833 -1313 867
rect -1347 753 -1313 787
rect -1347 673 -1313 707
rect -717 833 -683 867
rect -717 753 -683 787
rect -717 673 -683 707
rect -2607 433 -2573 467
rect -2527 433 -2493 467
rect -2447 433 -2413 467
rect -2367 433 -2333 467
rect -2287 433 -2253 467
rect -2207 433 -2173 467
rect -2127 433 -2093 467
rect -2047 433 -2013 467
rect -1967 433 -1933 467
rect -1887 433 -1853 467
rect -1807 433 -1773 467
rect -1727 433 -1693 467
rect -1647 433 -1613 467
rect -1567 433 -1533 467
rect -1487 433 -1453 467
rect -1407 433 -1373 467
rect -1327 433 -1293 467
rect -1247 433 -1213 467
rect -1167 433 -1133 467
rect -1087 433 -1053 467
rect -1007 433 -973 467
rect -927 433 -893 467
rect -847 433 -813 467
rect -767 433 -733 467
rect -687 433 -653 467
<< metal1 >>
rect -2630 1647 -630 1680
rect -2630 1613 -2607 1647
rect -2573 1613 -2527 1647
rect -2493 1613 -2447 1647
rect -2413 1613 -2367 1647
rect -2333 1613 -2287 1647
rect -2253 1613 -2207 1647
rect -2173 1613 -2127 1647
rect -2093 1613 -2047 1647
rect -2013 1613 -1967 1647
rect -1933 1613 -1887 1647
rect -1853 1613 -1807 1647
rect -1773 1613 -1727 1647
rect -1693 1613 -1647 1647
rect -1613 1613 -1567 1647
rect -1533 1613 -1487 1647
rect -1453 1613 -1407 1647
rect -1373 1613 -1327 1647
rect -1293 1613 -1247 1647
rect -1213 1613 -1167 1647
rect -1133 1613 -1087 1647
rect -1053 1613 -1007 1647
rect -973 1613 -927 1647
rect -893 1613 -847 1647
rect -813 1613 -767 1647
rect -733 1613 -687 1647
rect -653 1613 -630 1647
rect -2630 1580 -630 1613
rect -2580 900 -2540 1580
rect -2280 900 -2240 1580
rect -2210 1536 -2130 1550
rect -2210 1484 -2196 1536
rect -2144 1484 -2130 1536
rect -2210 1470 -2130 1484
rect -2120 1416 -2040 1430
rect -2120 1364 -2106 1416
rect -2054 1364 -2040 1416
rect -2120 1350 -2040 1364
rect -1970 1427 -1890 1580
rect -1970 1393 -1947 1427
rect -1913 1393 -1890 1427
rect -1970 1347 -1890 1393
rect -1970 1313 -1947 1347
rect -1913 1313 -1890 1347
rect -2150 1296 -2070 1310
rect -2150 1244 -2136 1296
rect -2084 1244 -2070 1296
rect -2150 1230 -2070 1244
rect -1970 1267 -1890 1313
rect -1970 1233 -1947 1267
rect -1913 1233 -1890 1267
rect -1970 1210 -1890 1233
rect -1670 1427 -1590 1580
rect -1670 1393 -1647 1427
rect -1613 1393 -1590 1427
rect -1670 1347 -1590 1393
rect -1670 1313 -1647 1347
rect -1613 1313 -1590 1347
rect -1670 1267 -1590 1313
rect -1670 1233 -1647 1267
rect -1613 1233 -1590 1267
rect -1670 1210 -1590 1233
rect -1370 1427 -1290 1580
rect -840 1536 -760 1550
rect -840 1484 -826 1536
rect -774 1484 -760 1536
rect -840 1470 -760 1484
rect -1370 1393 -1347 1427
rect -1313 1393 -1290 1427
rect -1370 1347 -1290 1393
rect -990 1416 -910 1430
rect -990 1364 -976 1416
rect -924 1364 -910 1416
rect -990 1350 -910 1364
rect -1370 1313 -1347 1347
rect -1313 1313 -1290 1347
rect -1370 1267 -1290 1313
rect -1370 1233 -1347 1267
rect -1313 1233 -1290 1267
rect -1370 1210 -1290 1233
rect -1120 1296 -1040 1310
rect -1120 1244 -1106 1296
rect -1054 1244 -1040 1296
rect -1120 1230 -1040 1244
rect -1620 1150 -1540 1170
rect -1220 1150 -1140 1170
rect -1620 1147 -1140 1150
rect -1620 1113 -1597 1147
rect -1563 1113 -1197 1147
rect -1163 1113 -1140 1147
rect -1620 1110 -1140 1113
rect -1620 1090 -1540 1110
rect -1220 1090 -1140 1110
rect -720 900 -680 1580
rect -2600 867 -2520 900
rect -2600 833 -2577 867
rect -2543 833 -2520 867
rect -2600 787 -2520 833
rect -2600 753 -2577 787
rect -2543 753 -2520 787
rect -2600 707 -2520 753
rect -2600 673 -2577 707
rect -2543 673 -2520 707
rect -2600 650 -2520 673
rect -2300 867 -2220 900
rect -2300 833 -2277 867
rect -2243 833 -2220 867
rect -2300 787 -2220 833
rect -2300 753 -2277 787
rect -2243 753 -2220 787
rect -2300 707 -2220 753
rect -2300 673 -2277 707
rect -2243 673 -2220 707
rect -2300 650 -2220 673
rect -1970 867 -1890 900
rect -1970 833 -1947 867
rect -1913 833 -1890 867
rect -1970 787 -1890 833
rect -1970 753 -1947 787
rect -1913 753 -1890 787
rect -1970 707 -1890 753
rect -1970 673 -1947 707
rect -1913 673 -1890 707
rect -1970 650 -1890 673
rect -1670 867 -1590 900
rect -1670 833 -1647 867
rect -1613 833 -1590 867
rect -1670 787 -1590 833
rect -1670 753 -1647 787
rect -1613 753 -1590 787
rect -1670 707 -1590 753
rect -1670 673 -1647 707
rect -1613 673 -1590 707
rect -1670 650 -1590 673
rect -1370 867 -1290 900
rect -1370 833 -1347 867
rect -1313 833 -1290 867
rect -1370 787 -1290 833
rect -1370 753 -1347 787
rect -1313 753 -1290 787
rect -1370 707 -1290 753
rect -1370 673 -1347 707
rect -1313 673 -1290 707
rect -1370 650 -1290 673
rect -740 867 -660 900
rect -740 833 -717 867
rect -683 833 -660 867
rect -740 787 -660 833
rect -740 753 -717 787
rect -683 753 -660 787
rect -740 707 -660 753
rect -740 673 -717 707
rect -683 673 -660 707
rect -740 650 -660 673
rect -1950 500 -1910 650
rect -1650 500 -1610 650
rect -1350 500 -1310 650
rect -2630 467 -630 500
rect -2630 433 -2607 467
rect -2573 433 -2527 467
rect -2493 433 -2447 467
rect -2413 433 -2367 467
rect -2333 433 -2287 467
rect -2253 433 -2207 467
rect -2173 433 -2127 467
rect -2093 433 -2047 467
rect -2013 433 -1967 467
rect -1933 433 -1887 467
rect -1853 433 -1807 467
rect -1773 433 -1727 467
rect -1693 433 -1647 467
rect -1613 433 -1567 467
rect -1533 433 -1487 467
rect -1453 433 -1407 467
rect -1373 433 -1327 467
rect -1293 433 -1247 467
rect -1213 433 -1167 467
rect -1133 433 -1087 467
rect -1053 433 -1007 467
rect -973 433 -927 467
rect -893 433 -847 467
rect -813 433 -767 467
rect -733 433 -687 467
rect -653 433 -630 467
rect -2630 400 -630 433
<< via1 >>
rect -2196 1527 -2144 1536
rect -2196 1493 -2187 1527
rect -2187 1493 -2153 1527
rect -2153 1493 -2144 1527
rect -2196 1484 -2144 1493
rect -2106 1407 -2054 1416
rect -2106 1373 -2097 1407
rect -2097 1373 -2063 1407
rect -2063 1373 -2054 1407
rect -2106 1364 -2054 1373
rect -2136 1287 -2084 1296
rect -2136 1253 -2127 1287
rect -2127 1253 -2093 1287
rect -2093 1253 -2084 1287
rect -2136 1244 -2084 1253
rect -826 1527 -774 1536
rect -826 1493 -817 1527
rect -817 1493 -783 1527
rect -783 1493 -774 1527
rect -826 1484 -774 1493
rect -976 1407 -924 1416
rect -976 1373 -967 1407
rect -967 1373 -933 1407
rect -933 1373 -924 1407
rect -976 1364 -924 1373
rect -1106 1287 -1054 1296
rect -1106 1253 -1097 1287
rect -1097 1253 -1063 1287
rect -1063 1253 -1054 1287
rect -1106 1244 -1054 1253
<< metal2 >>
rect -2210 1536 -2130 1550
rect -2210 1484 -2196 1536
rect -2144 1530 -2130 1536
rect -840 1536 -760 1550
rect -840 1530 -826 1536
rect -2144 1490 -826 1530
rect -2144 1484 -2130 1490
rect -2210 1470 -2130 1484
rect -840 1484 -826 1490
rect -774 1484 -760 1536
rect -840 1470 -760 1484
rect -2120 1416 -2040 1430
rect -2120 1364 -2106 1416
rect -2054 1410 -2040 1416
rect -990 1416 -910 1430
rect -990 1410 -976 1416
rect -2054 1370 -976 1410
rect -2054 1364 -2040 1370
rect -2120 1350 -2040 1364
rect -990 1364 -976 1370
rect -924 1364 -910 1416
rect -990 1350 -910 1364
rect -2150 1296 -2070 1310
rect -2150 1244 -2136 1296
rect -2084 1290 -2070 1296
rect -1120 1296 -1040 1310
rect -1120 1290 -1106 1296
rect -2084 1250 -1106 1290
rect -2084 1244 -2070 1250
rect -2150 1230 -2070 1244
rect -1120 1244 -1106 1250
rect -1054 1244 -1040 1296
rect -1120 1230 -1040 1244
<< labels >>
rlabel metal1 s -1600 1110 -1560 1150 4 OUT_bar
port 1 nsew
rlabel metal1 s -1650 430 -1610 470 4 GND!
port 2 nsew
rlabel metal1 s -1650 1610 -1610 1650 4 CLK
port 3 nsew
rlabel locali s -1700 985 -1660 1025 4 OUT
port 4 nsew
rlabel locali s -2610 1500 -2590 1520 4 A
port 5 nsew
rlabel locali s -2610 1190 -2590 1210 4 A_bar
port 6 nsew
rlabel locali s -2610 1380 -2590 1400 4 B
port 7 nsew
rlabel locali s -2610 1110 -2590 1130 4 B_bar
port 8 nsew
rlabel locali s -2610 1270 -2590 1290 4 C
port 9 nsew
rlabel locali s -2610 1010 -2590 1030 4 C_bar
port 10 nsew
rlabel locali s -1850 550 -1810 590 4 Dis
port 11 nsew
<< end >>

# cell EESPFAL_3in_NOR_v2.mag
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
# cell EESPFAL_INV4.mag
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
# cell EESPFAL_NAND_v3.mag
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
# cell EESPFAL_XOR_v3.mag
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
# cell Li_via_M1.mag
magic
tech sky130A
magscale 1 2
<< locali >>
rect -40 19 40 42
rect -40 -15 -17 19
rect 17 -15 40 19
rect -40 -38 40 -15
<< viali >>
rect -17 -15 17 19
<< metal1 >>
rect -40 19 40 42
rect -40 -15 -17 19
rect 17 -15 40 19
rect -40 -38 40 -15
<< end >>

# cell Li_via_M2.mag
magic
tech sky130A
magscale 1 2
<< locali >>
rect -40 19 40 42
rect -40 -15 -17 19
rect 17 -15 40 19
rect -40 -38 40 -15
<< viali >>
rect -17 -15 17 19
<< metal1 >>
rect -40 28 40 42
rect -40 -24 -26 28
rect 26 -24 40 28
rect -40 -38 40 -24
<< via1 >>
rect -26 19 26 28
rect -26 -15 -17 19
rect -17 -15 17 19
rect 17 -15 26 19
rect -26 -24 26 -15
<< metal2 >>
rect -40 28 40 42
rect -40 -24 -26 28
rect 26 -24 40 28
rect -40 -38 40 -24
<< end >>
